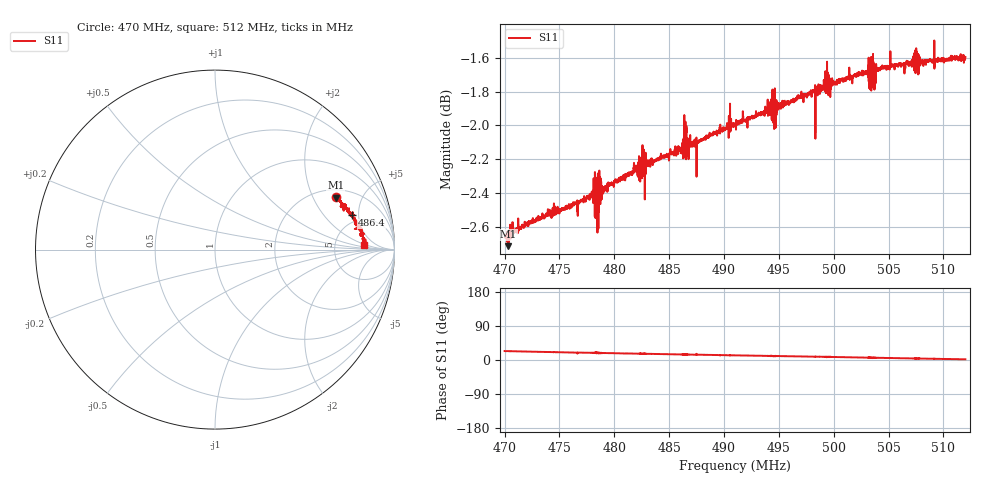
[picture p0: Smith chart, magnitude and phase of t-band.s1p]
! Calibrated averaged scanner-service zoom
# Hz S RI R 50
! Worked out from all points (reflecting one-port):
!   4001 points, 470 MHz to 512 MHz, reference 50 ohm
!   lowest |S11| = -2.7 dB at 470.3 MHz (marker M1), VSWR 6.46, Z = 121 + j151 ohm
!   phase of S11 starts at 24 deg and turns -22 deg over the sweep
!   S11 on the Smith chart (normalised r, x): 470 MHz: 2.37, +3.07; 486.4 MHz: 4.10, +4.14; 512 MHz: 11, +2
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4.7e8  0.6759 0.2952
4.703465e8  0.6722 0.2896
4.72394e8  0.6901 0.279
4.7525e8  0.7038 0.261
4.76468e8  0.7099 0.2533
4.780535e8  0.7193 0.2449
4.783895e8  0.7122 0.2639
4.78694e8  0.7249 0.2425
4.805e8  0.7298 0.2301
4.827575e8  0.7379 0.2192
4.8575e8  0.756 0.2017
4.86191e8  0.7563 0.1979
4.86359e8  0.7634 0.192
4.867895e8  0.7577 0.1987
4.873355e8  0.7633 0.1909
4.91e8  0.7762 0.1691
4.94171e8  0.7861 0.1477
4.94591e8  0.783 0.1418
4.9625e8  0.7962 0.1372
4.98518e8  0.8032 0.1224
4.992845e8  0.8067 0.1267
4.99715e8  0.8059 0.1235
5.015e8  0.8145 0.1022
5.029385e8  0.8187 0.0913
5.033795e8  0.8197 0.095
5.03957e8  0.8205 0.0846
5.0675e8  0.8264 0.0626
5.12e8  0.8316 0.0266
